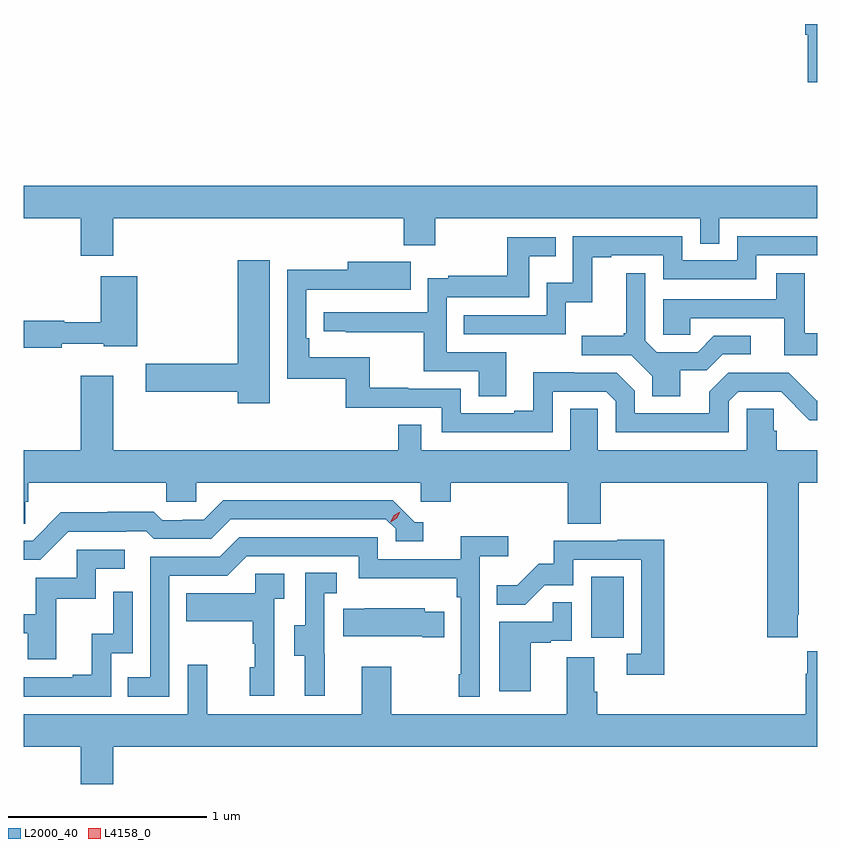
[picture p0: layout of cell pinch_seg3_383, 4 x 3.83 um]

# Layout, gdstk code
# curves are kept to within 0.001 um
import gdstk
lib = gdstk.Library(unit=1e-6, precision=1e-09)
def R(c, l, rs):  # rectangles x0, y0, x1, y1
    for r in rs: c.add(gdstk.rectangle(r[:2], r[2:], *l))
def P(c, l, *ps):  # polygons
    for p in ps: c.add(gdstk.Polygon(p, *l))
L2000_40 = (2000, 40)
L4158_0 = (4158, 0)

pinch_seg3_383 = lib.new_cell('pinch_seg3_383')
R(pinch_seg3_383, L2000_40, [(958.79,686.814,958.954,687.121)])
P(pinch_seg3_383, L2000_40, [(959.93,689.908),(959.87,689.908),(959.87,689.855),(959.882,689.855),(959.882,689.615),(959.93,689.615)],
  [(955.93,688.928),(956.216,688.928),(956.216,688.74),(956.38,688.74),(956.38,688.928),(957.845,688.928),(957.845,688.793),(958.005,688.793),(958.005,688.928),(959.34,688.928),(959.34,688.801),(959.436,688.801),(959.436,688.928),(959.93,688.928),(959.93,689.092),(955.93,689.092)],
  [(958.662,688.505),(958.795,688.505),(958.795,688.731),(958.891,688.731),(958.891,688.743),(959.154,688.743),(959.154,688.62),(959.622,688.62),(959.622,688.743),(959.93,688.743),(959.93,688.839),(959.526,688.839),(959.526,688.716),(959.25,688.716),(959.25,688.839),(958.698,688.839),(958.698,688.603),(958.566,688.603),(958.566,688.44),(958.147,688.44),(958.147,688.344),(958.662,688.344)],
  [(958.363,688.254),(958.062,688.254),(958.062,688.53),(958.479,688.53),(958.479,688.736),(958.613,688.736),(958.613,688.833),(958.368,688.833),(958.368,688.639),(958.069,688.639),(958.069,688.627),(957.966,688.627),(957.966,688.455),(957.441,688.455),(957.441,688.359),(957.553,688.359),(957.553,688.354),(957.946,688.354),(957.946,688.158),(958.223,688.158),(958.223,688.03),(958.363,688.03)],
  [(957.169,688.717),(957.008,688.717),(957.008,688.196),(956.544,688.196),(956.544,688.054),(957.008,688.054),(957.008,687.996),(957.169,687.996)],
  [(958.596,688.053),(958.866,688.053),(958.914,688.005),(958.914,687.849),(959.484,687.849),(959.484,688.005),(959.532,688.053),(959.748,688.053),(959.89,687.911),(959.93,687.911),(959.93,688.008),(959.928,688.008),(959.787,688.149),(959.481,688.149),(959.387,688.055),(959.387,687.945),(959.01,687.945),(959.01,688.059),(958.92,688.149),(958.704,688.149),(958.704,688.151),(958.499,688.151),(958.499,687.958),(958.403,687.958),(958.403,687.945),(958.134,687.945),(958.134,688.068),(957.869,688.068),(957.869,688.073),(957.673,688.073),(957.673,688.228),(957.368,688.228),(957.368,688.324),(957.354,688.324),(957.354,688.569),(957.881,688.568),(957.881,688.708),(957.563,688.708),(957.563,688.67),(957.258,688.67),(957.258,688.119),(957.552,688.119),(957.552,687.972),(958.038,687.972),(958.038,687.849),(958.596,687.849)],
  [(959.93,688.348),(959.867,688.348),(959.867,688.651),(959.723,688.651),(959.723,688.521),(959.154,688.521),(959.154,688.341),(959.291,688.341),(959.291,688.425),(959.765,688.425),(959.765,688.239),(959.93,688.239)],
  [(959.239,688.162),(959.374,688.162),(959.454,688.242),(959.596,688.242),(959.596,688.335),(959.408,688.335),(959.327,688.254),(959.121,688.254),(959.064,688.311),(959.064,688.651),(958.967,688.651),(958.967,688.348),(958.956,688.348),(958.956,688.336),(958.743,688.336),(958.743,688.239),(958.992,688.239),(959.099,688.132),(959.099,688.03),(959.239,688.03)],
  [(956.12,688.295),(956.334,688.295),(956.334,688.283),(956.501,688.283),(956.501,688.636),(956.318,688.636),(956.318,688.405),(956.134,688.405),(956.134,688.412),(955.93,688.412),(955.93,688.276),(956.12,688.276)],
  [(959.833,686.929),(959.838,686.929),(959.838,687.596),(959.93,687.596),(959.93,687.76),(959.726,687.76),(959.726,687.858),(959.711,687.858),(959.711,687.968),(959.574,687.968),(959.574,687.76),(958.824,687.76),(958.824,687.968),(958.685,687.968),(958.685,687.76),(957.933,687.76),(957.933,687.887),(957.817,687.887),(957.817,687.76),(956.38,687.76),(956.38,688.135),(956.216,688.135),(956.216,687.76),(955.93,687.76),(955.93,687.388),(955.937,687.388),(955.937,687.498),(955.952,687.498),(955.952,687.596),(956.649,687.596),(956.649,687.498),(956.799,687.498),(956.799,687.596),(957.93,687.596),(957.93,687.498),(958.082,687.498),(958.082,687.596),(958.673,687.596),(958.673,687.388),(958.838,687.388),(958.838,687.596),(959.678,687.596),(959.678,686.817),(959.833,686.817)],
  [(956.154,687.348),(956.447,687.348),(956.447,687.351),(956.546,687.351),(956.585,687.312),(956.874,687.312),(956.973,687.411),(957.756,687.411),(957.804,687.363),(957.804,687.3),(957.943,687.3),(957.943,687.396),(957.9,687.396),(957.789,687.507),(956.936,687.507),(956.837,687.408),(956.73,687.408),(956.73,687.405),(956.627,687.405),(956.585,687.448),(956.352,687.448),(956.352,687.445),(956.116,687.445),(955.974,687.303),(955.93,687.303),(955.93,687.207),(956.013,687.207)],
  [(956.664,687.126),(956.955,687.126),(957.054,687.225),(957.618,687.225),(957.618,687.113),(958.114,687.113),(958.114,687.017),(958.134,687.017),(958.134,686.629),(958.122,686.629),(958.122,686.517),(958.23,686.517),(958.23,687.224),(958.372,687.224),(958.372,687.326),(958.133,687.326),(958.133,687.21),(957.714,687.21),(957.714,687.321),(957.017,687.321),(956.918,687.222),(956.568,687.222),(956.568,686.613),(956.455,686.613),(956.455,686.517),(956.664,686.517)],
  [(959.159,687.308),(958.921,687.308),(958.921,687.303),(958.603,687.303),(958.603,687.186),(958.526,687.186),(958.419,687.079),(958.315,687.079),(958.315,686.98),(958.459,686.98),(958.557,687.078),(958.701,687.078),(958.701,687.207),(959.043,687.207),(959.043,686.733),(958.971,686.733),(958.971,686.628),(959.159,686.628)],
  [(956.093,687.009),(956.292,687.009),(956.292,687.162),(956.44,687.162),(956.44,687.258),(956.196,687.258),(956.196,687.117),(955.991,687.117),(955.991,686.931),(955.93,686.931),(955.93,686.835),(955.949,686.835),(955.949,686.706),(956.093,686.706)],
  [(957.446,686.733),(957.444,686.733),(957.444,687.037),(957.508,687.037),(957.508,687.14),(957.348,687.14),(957.348,686.877),(957.293,686.877),(957.293,686.722),(957.347,686.722),(957.347,686.52),(957.446,686.52)],
  [(957.192,687.011),(957.244,687.011),(957.244,687.135),(957.096,687.135),(957.096,687.037),(956.749,687.037),(956.749,686.897),(957.084,686.897),(957.084,686.783),(957.094,686.783),(957.094,686.664),(957.068,686.664),(957.068,686.52),(957.192,686.52)],
  [(956.37,686.736),(956.478,686.736),(956.478,687.046),(956.382,687.046),(956.382,686.834),(956.273,686.834),(956.273,686.626),(956.177,686.626),(956.177,686.613),(955.93,686.613),(955.93,686.517),(956.37,686.517)],
  [(958.486,686.787),(958.586,686.787),(958.586,686.799),(958.692,686.799),(958.692,686.993),(958.597,686.993),(958.597,686.895),(958.328,686.895),(958.328,686.544),(958.486,686.544)],
  [(958.049,686.944),(957.951,686.944),(957.951,686.962),(957.649,686.962),(957.649,686.959),(957.541,686.959),(957.541,686.822),(957.938,686.822),(957.938,686.815),(958.049,686.815)],
  [(956.38,686.264),(959.93,686.264),(959.93,686.746),(959.879,686.746),(959.879,686.633),(959.873,686.633),(959.873,686.428),(958.82,686.428),(958.82,686.54),(958.807,686.54),(958.807,686.714),(958.667,686.714),(958.667,686.428),(957.783,686.428),(957.783,686.668),(957.635,686.668),(957.635,686.428),(956.855,686.428),(956.855,686.677),(956.757,686.677),(956.757,686.428),(955.93,686.428),(955.93,686.264),(956.216,686.264),(956.216,686.076),(956.38,686.076)])
P(pinch_seg3_383, L4158_0, [(957.78,687.397),(957.78,687.398),(957.796,687.43),(957.827,687.449),(957.827,687.449),(957.827,687.449),(957.811,687.416),(957.78,687.397)])

lib.write_gds('pinch_seg3_383.gds')
